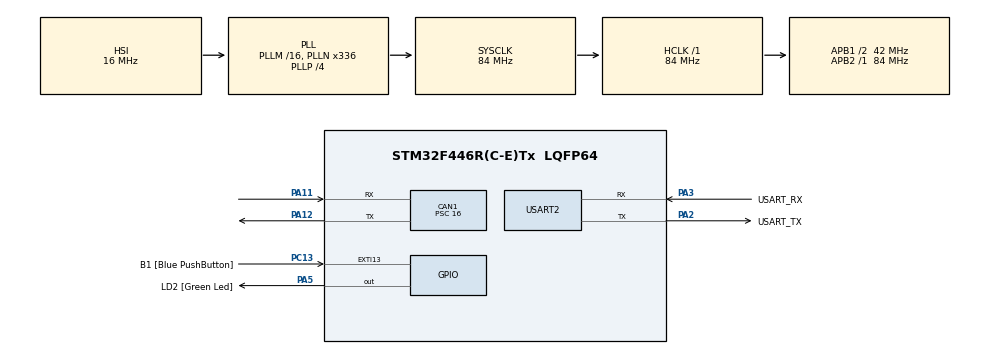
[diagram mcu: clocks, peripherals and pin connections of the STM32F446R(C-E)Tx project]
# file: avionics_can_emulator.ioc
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CAN1.BS1=CAN_BS1_1TQ
CAN1.BS2=CAN_BS2_1TQ
CAN1.CalculateBaudRate=875000
CAN1.CalculateTimeBit=1142
CAN1.CalculateTimeQuantum=380.95238095238096
CAN1.Mode=CAN_MODE_LOOPBACK
CAN1.Prescaler=16
Mcu.Family=STM32F4
Mcu.Name=STM32F446R(C-E)Tx
Mcu.Package=LQFP64
NVIC.CAN1_RX0_IRQn=true\:0\:0\:false\:false\:true\:true\:true\:true
NVIC.CAN1_RX1_IRQn=true\:0\:0\:false\:false\:true\:true\:true\:true
NVIC.PriorityGroup=NVIC_PRIORITYGROUP_0
PA11.Mode=CAN_Activate
PA11.Signal=CAN1_RX
PA12.Mode=CAN_Activate
PA12.Signal=CAN1_TX
PA13.GPIO_Label=TMS
PA13.Mode=Serial_Wire
PA13.Signal=SYS_JTMS-SWDIO
PA14.GPIO_Label=TCK
PA14.Mode=Serial_Wire
PA14.Signal=SYS_JTCK-SWCLK
PA2.GPIO_Label=USART_TX
PA2.Mode=Asynchronous
PA2.Signal=USART2_TX
PA3.GPIO_Label=USART_RX
PA3.Mode=Asynchronous
PA3.Signal=USART2_RX
PA5.GPIO_Label=LD2 [Green Led]
PA5.Signal=GPIO_Output
PB3.GPIO_Label=SWO
PB3.Signal=SYS_JTDO-SWO
PC13.GPIO_Label=B1 [Blue PushButton]
PC13.GPIO_ModeDefaultEXTI=GPIO_MODE_IT_FALLING
PC13.Signal=GPXTI13
PC14-OSC32_IN.Mode=LSE-External-Oscillator
PC14-OSC32_IN.Signal=RCC_OSC32_IN
PC15-OSC32_OUT.Mode=LSE-External-Oscillator
PC15-OSC32_OUT.Signal=RCC_OSC32_OUT
PH0-OSC_IN.Mode=HSE-External-Oscillator
PH0-OSC_IN.Signal=RCC_OSC_IN
PH1-OSC_OUT.Mode=HSE-External-Oscillator
PH1-OSC_OUT.Signal=RCC_OSC_OUT
ProjectManager.HeapSize=0x200
ProjectManager.StackSize=0x400
ProjectManager.TargetToolchain=STM32CubeIDE
RCC.48MHZClocksFreq_Value=84000000
RCC.AHBFreq_Value=84000000
RCC.APB1CLKDivider=RCC_HCLK_DIV2
RCC.APB1Freq_Value=42000000
RCC.APB1TimFreq_Value=84000000
RCC.APB2Freq_Value=84000000
RCC.APB2TimFreq_Value=84000000
RCC.CortexFreq_Value=84000000
RCC.FLatency-AdvancedSettings=FLASH_LATENCY_2
RCC.HCLKFreq_Value=84000000
RCC.HSE_VALUE=8000000
RCC.HSI_VALUE=16000000
RCC.PLLN=336
RCC.PLLP=RCC_PLLP_DIV4
RCC.SYSCLKFreq_VALUE=84000000
RCC.SYSCLKSource=RCC_SYSCLKSOURCE_PLLCLK
RCC.USBFreq_Value=168000000
RCC.VCOOutputFreq_Value=336000000
USART2.VirtualMode=VM_ASYNC
board=NUCLEO-F446RE

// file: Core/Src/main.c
/* USER CODE BEGIN Header */
/**
  ******************************************************************************
  * @file           : main.c
  * @brief          : Main program body
  ******************************************************************************
  * @attention
  *
  * Copyright (c) 2025 STMicroelectronics.
  * All rights reserved.
  *
  * This software is licensed under terms that can be found in the LICENSE file
  * in the root directory of this software component.
  * If no LICENSE file comes with this software, it is provided AS-IS.
  *
  ******************************************************************************
  */
/* USER CODE END Header */
#include "main.h"

/* USER CODE BEGIN Includes */
#include "serial_monitor.h"
/* USER CODE END Includes */

CAN_HandleTypeDef hcan1;

UART_HandleTypeDef huart2;

/* USER CODE BEGIN PV */
CAN_TxHeaderTypeDef Tx_header;
CAN_RxHeaderTypeDef Rx_header;

uint32_t Tx_mailbox;

uint8_t Tx_data[8];
uint8_t Rx_data[8];

uint8_t count;
/* USER CODE END PV */

void SystemClock_Config(void);
static void MX_GPIO_Init(void);
static void MX_USART2_UART_Init(void);
static void MX_CAN1_Init(void);

int main(void)
{

  /* MCU Configuration--------------------------------------------------------*/

  /* Reset of all peripherals, Initializes the Flash interface and the Systick. */
  HAL_Init();

  /* Configure the system clock */
  SystemClock_Config();

  /* Initialize all configured peripherals */
  MX_GPIO_Init();
  MX_USART2_UART_Init();
  MX_CAN1_Init();
  /* USER CODE BEGIN 2 */
  HAL_StatusTypeDef status;
  status = HAL_CAN_Start(&hcan1);
  printf("Start status: %d\r\n", status);
  status = HAL_CAN_ActivateNotification(&hcan1, CAN_IT_RX_FIFO0_MSG_PENDING);
  printf("Activate notification status: %d\r\n", status);

  Tx_header.DLC = 1;
  Tx_header.ExtId = 0;
  Tx_header.IDE = CAN_ID_STD;
  Tx_header.RTR = CAN_RTR_DATA;
  Tx_header.StdId = 0x103;
  Tx_header.TransmitGlobalTime = DISABLE;

  Tx_data[0] = 0xf3;

  status = HAL_CAN_AddTxMessage(&hcan1, &Tx_header, Tx_data, &Tx_mailbox);
  printf("Add message status %d, CAN error: %ld\r\n", status, HAL_CAN_GetError(&hcan1));

  while (HAL_CAN_IsTxMessagePending(&hcan1, Tx_mailbox));

  while (HAL_CAN_GetRxFifoFillLevel(&hcan1, CAN_RX_FIFO0) == 0);

  status = HAL_CAN_GetRxMessage(&hcan1, CAN_RX_FIFO0, &Rx_header, Rx_data);
  printf("Get message status: %d, Get message error: %ld\r\n", status, HAL_CAN_GetError(&hcan1));
  /* USER CODE END 2 */

  /* Infinite loop */
  while (1)
  {

  }
}

void SystemClock_Config(void)
{
  RCC_OscInitTypeDef RCC_OscInitStruct = {0};
  RCC_ClkInitTypeDef RCC_ClkInitStruct = {0};

  /** Configure the main internal regulator output voltage
  */
  __HAL_RCC_PWR_CLK_ENABLE();
  __HAL_PWR_VOLTAGESCALING_CONFIG(PWR_REGULATOR_VOLTAGE_SCALE3);

  /** Initializes the RCC Oscillators according to the specified parameters
  * in the RCC_OscInitTypeDef structure.
  */
  RCC_OscInitStruct.OscillatorType = RCC_OSCILLATORTYPE_HSI;
  RCC_OscInitStruct.HSIState = RCC_HSI_ON;
  RCC_OscInitStruct.HSICalibrationValue = RCC_HSICALIBRATION_DEFAULT;
  RCC_OscInitStruct.PLL.PLLState = RCC_PLL_ON;
  RCC_OscInitStruct.PLL.PLLSource = RCC_PLLSOURCE_HSI;
  RCC_OscInitStruct.PLL.PLLM = 16;
  RCC_OscInitStruct.PLL.PLLN = 336;
  RCC_OscInitStruct.PLL.PLLP = RCC_PLLP_DIV4;
  RCC_OscInitStruct.PLL.PLLQ = 2;
  RCC_OscInitStruct.PLL.PLLR = 2;
  if (HAL_RCC_OscConfig(&RCC_OscInitStruct) != HAL_OK)
  {
    Error_Handler();
  }

  /** Initializes the CPU, AHB and APB buses clocks
  */
  RCC_ClkInitStruct.ClockType = RCC_CLOCKTYPE_HCLK|RCC_CLOCKTYPE_SYSCLK
                              |RCC_CLOCKTYPE_PCLK1|RCC_CLOCKTYPE_PCLK2;
  RCC_ClkInitStruct.SYSCLKSource = RCC_SYSCLKSOURCE_PLLCLK;
  RCC_ClkInitStruct.AHBCLKDivider = RCC_SYSCLK_DIV1;
  RCC_ClkInitStruct.APB1CLKDivider = RCC_HCLK_DIV2;
  RCC_ClkInitStruct.APB2CLKDivider = RCC_HCLK_DIV1;

  if (HAL_RCC_ClockConfig(&RCC_ClkInitStruct, FLASH_LATENCY_2) != HAL_OK)
  {
    Error_Handler();
  }
}

static void MX_CAN1_Init(void)
{

  hcan1.Instance = CAN1;
  hcan1.Init.Prescaler = 16;
  hcan1.Init.Mode = CAN_MODE_LOOPBACK;
  hcan1.Init.SyncJumpWidth = CAN_SJW_1TQ;
  hcan1.Init.TimeSeg1 = CAN_BS1_1TQ;
  hcan1.Init.TimeSeg2 = CAN_BS2_1TQ;
  hcan1.Init.TimeTriggeredMode = DISABLE;
  hcan1.Init.AutoBusOff = DISABLE;
  hcan1.Init.AutoWakeUp = DISABLE;
  hcan1.Init.AutoRetransmission = DISABLE;
  hcan1.Init.ReceiveFifoLocked = DISABLE;
  hcan1.Init.TransmitFifoPriority = DISABLE;
  if (HAL_CAN_Init(&hcan1) != HAL_OK)
  {
    Error_Handler();
  }
  /* USER CODE BEGIN CAN1_Init 2 */
  CAN_FilterTypeDef filter_config;

  filter_config.FilterActivation = CAN_FILTER_ENABLE;
  filter_config.FilterBank = 10;
  filter_config.FilterFIFOAssignment = CAN_RX_FIFO0;
  filter_config.FilterIdHigh = 0;
  filter_config.FilterIdLow = 0x0000;
  filter_config.FilterMaskIdHigh = 0;
  filter_config.FilterMaskIdLow = 0x0000;
  filter_config.FilterMode = CAN_FILTERMODE_IDMASK;
  filter_config.FilterScale = CAN_FILTERSCALE_32BIT;
  filter_config.SlaveStartFilterBank = 0;

  HAL_CAN_ConfigFilter(&hcan1, &filter_config);
  /* USER CODE END CAN1_Init 2 */

}

static void MX_USART2_UART_Init(void)
{

  huart2.Instance = USART2;
  huart2.Init.BaudRate = 115200;
  huart2.Init.WordLength = UART_WORDLENGTH_8B;
  huart2.Init.StopBits = UART_STOPBITS_1;
  huart2.Init.Parity = UART_PARITY_NONE;
  huart2.Init.Mode = UART_MODE_TX_RX;
  huart2.Init.HwFlowCtl = UART_HWCONTROL_NONE;
  huart2.Init.OverSampling = UART_OVERSAMPLING_16;
  if (HAL_UART_Init(&huart2) != HAL_OK)
  {
    Error_Handler();
  }

}

static void MX_GPIO_Init(void)
{
  GPIO_InitTypeDef GPIO_InitStruct = {0};

  /* GPIO Ports Clock Enable */
  __HAL_RCC_GPIOC_CLK_ENABLE();
  __HAL_RCC_GPIOH_CLK_ENABLE();
  __HAL_RCC_GPIOA_CLK_ENABLE();
  __HAL_RCC_GPIOB_CLK_ENABLE();

  /*Configure GPIO pin Output Level */
  HAL_GPIO_WritePin(LD2_GPIO_Port, LD2_Pin, GPIO_PIN_RESET);

  /*Configure GPIO pin : B1_Pin */
  GPIO_InitStruct.Pin = B1_Pin;
  GPIO_InitStruct.Mode = GPIO_MODE_IT_FALLING;
  GPIO_InitStruct.Pull = GPIO_NOPULL;
  HAL_GPIO_Init(B1_GPIO_Port, &GPIO_InitStruct);

  /*Configure GPIO pin : LD2_Pin */
  GPIO_InitStruct.Pin = LD2_Pin;
  GPIO_InitStruct.Mode = GPIO_MODE_OUTPUT_PP;
  GPIO_InitStruct.Pull = GPIO_NOPULL;
  GPIO_InitStruct.Speed = GPIO_SPEED_FREQ_LOW;
  HAL_GPIO_Init(LD2_GPIO_Port, &GPIO_InitStruct);

}

/* USER CODE BEGIN 4 */
void HAL_CAN_RxFifo0MsgPendingCallback(CAN_HandleTypeDef *hcan)
{
	printf("Received\r\n");
}
/* USER CODE END 4 */

void Error_Handler(void)
{
  __disable_irq();
  while (1)
  {
  }
}
